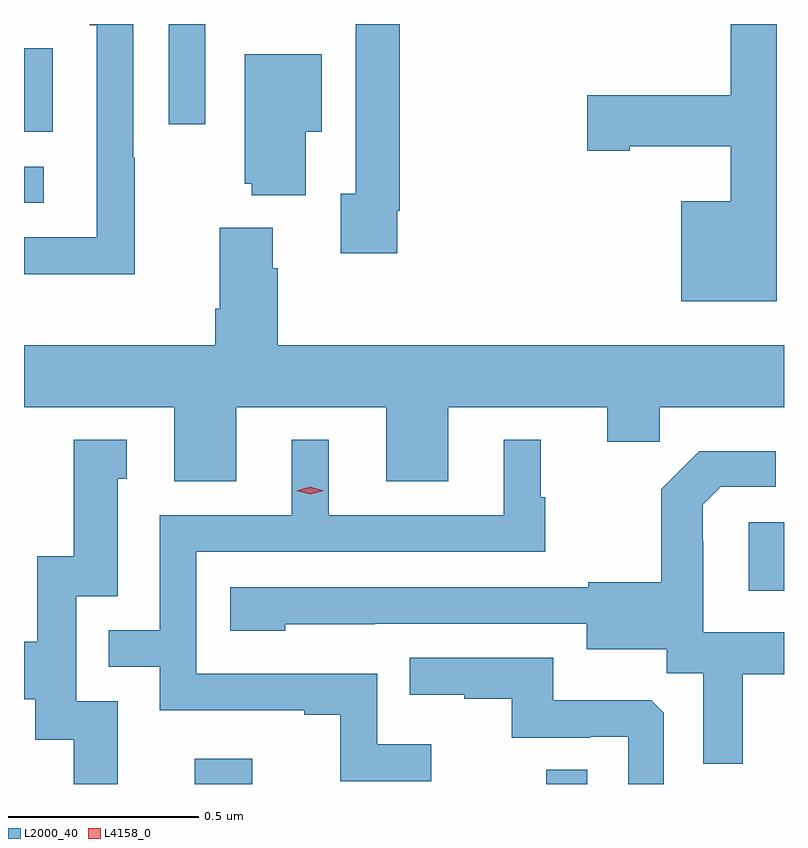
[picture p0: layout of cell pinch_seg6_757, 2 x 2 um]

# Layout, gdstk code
import gdstk
lib = gdstk.Library(unit=1e-6, precision=1e-09)
def R(c, l, rs):  # rectangles x0, y0, x1, y1
    for r in rs: c.add(gdstk.rectangle(r[:2], r[2:], *l))
def P(c, l, *ps):  # polygons
    for p in ps: c.add(gdstk.Polygon(p, *l))
L2000_40 = (2000, 40)
L4158_0 = (4158, 0)

pinch_seg6_757 = lib.new_cell('pinch_seg6_757')
R(pinch_seg6_757, L2000_40, [(545.255,942.349,545.407,942.415), (546.18,942.349,546.288,942.386), (546.713,942.858,546.806,943.038), (544.806,943.878,544.858,943.974), (544.806,944.066,544.882,944.285), (545.187,944.085,545.283,944.349)])
P(pinch_seg6_757, L2000_40, [(545.788,943.858),(545.795,943.858),(545.795,944.349),(545.679,944.349),(545.679,943.902),(545.639,943.902),(545.639,943.746),(545.788,943.746)],
  [(546.787,944.349),(546.666,944.349),(546.666,944.162),(546.288,944.162),(546.288,944.015),(546.4,944.015),(546.4,944.027),(546.666,944.027),(546.666,943.882),(546.536,943.882),(546.536,943.619),(546.787,943.619)],
  [(545.097,943.997),(545.094,943.997),(545.094,944.349),(544.979,944.349),(544.979,944.346),(544.998,944.346),(544.998,943.788),(544.806,943.788),(544.806,943.691),(545.097,943.691)],
  [(545.548,944.066),(545.59,944.066),(545.59,944.269),(545.387,944.269),(545.387,943.929),(545.405,943.929),(545.405,943.898),(545.548,943.898)],
  [(545.365,943.34),(545.759,943.34),(545.759,943.146),(545.923,943.146),(545.923,943.34),(546.341,943.34),(546.341,943.25),(546.479,943.25),(546.479,943.34),(546.806,943.34),(546.806,943.504),(545.474,943.504),(545.474,943.706),(545.461,943.706),(545.461,943.813),(545.321,943.813),(545.321,943.6),(545.309,943.6),(545.309,943.504),(544.806,943.504),(544.806,943.34),(545.201,943.34),(545.201,943.146),(545.365,943.146)],
  [(545.053,942.567),(544.944,942.567),(544.944,942.843),(545.053,942.843),(545.053,943.152),(545.077,943.152),(545.077,943.255),(544.937,943.255),(544.937,942.948),(544.841,942.948),(544.841,942.724),(544.806,942.724),(544.806,942.572),(544.836,942.572),(544.836,942.466),(544.937,942.466),(544.937,942.349),(545.053,942.349)],
  [(545.878,942.454),(545.736,942.454),(545.736,942.639),(545.259,942.639),(545.259,942.96),(546.178,942.96),(546.178,943.104),(546.166,943.104),(546.166,943.255),(546.068,943.255),(546.068,943.056),(545.608,943.056),(545.608,943.255),(545.51,943.255),(545.51,943.056),(545.163,943.056),(545.163,942.753),(545.029,942.753),(545.029,942.657),(545.163,942.657),(545.163,942.543),(545.543,942.543),(545.543,942.531),(545.638,942.531),(545.638,942.356),(545.878,942.356)],
  [(546.697,942.638),(546.806,942.638),(546.806,942.748),(546.594,942.748),(546.594,942.989),(546.592,942.989),(546.592,943.084),(546.639,943.131),(546.784,943.131),(546.784,943.225),(546.583,943.225),(546.483,943.125),(546.483,942.88),(546.291,942.88),(546.291,942.867),(545.349,942.867),(545.349,942.752),(545.493,942.752),(545.493,942.77),(545.729,942.77),(545.729,942.771),(546.287,942.771),(546.287,942.704),(546.498,942.704),(546.498,942.64),(546.593,942.64),(546.593,942.402),(546.697,942.402)],
  [(546.489,942.537),(546.457,942.569),(546.199,942.569),(546.199,942.681),(545.821,942.681),(545.821,942.584),(545.965,942.584),(545.965,942.573),(546.089,942.573),(546.089,942.471),(546.296,942.471),(546.296,942.474),(546.396,942.474),(546.396,942.349),(546.489,942.349)])
P(pinch_seg6_757, L4158_0, [(545.559,943.111),(545.523,943.121),(545.523,943.121),(545.523,943.121),(545.559,943.131),(545.595,943.121),(545.595,943.121),(545.595,943.121)])

lib.write_gds('pinch_seg6_757.gds')
